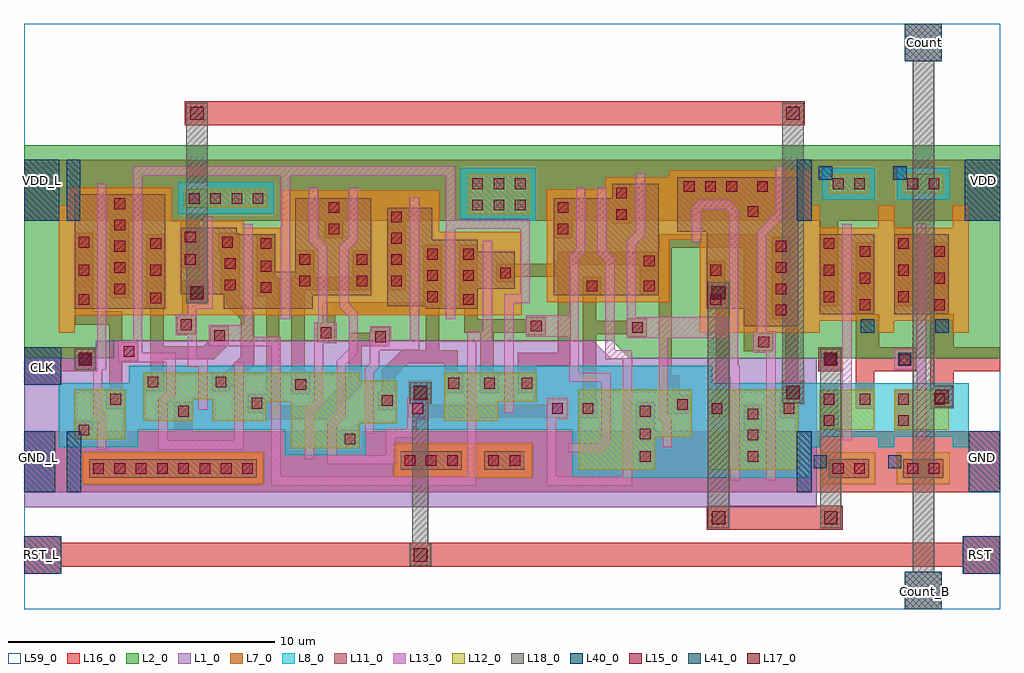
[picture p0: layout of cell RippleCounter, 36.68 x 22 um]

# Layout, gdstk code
import gdstk
lib = gdstk.Library(unit=1e-6, precision=1e-09)
def R(c, l, rs):  # rectangles x0, y0, x1, y1
    for r in rs: c.add(gdstk.rectangle(r[:2], r[2:], *l))
def A(c, l, x, y, w, h, nx, ny, dx, dy):  # array of equal rectangles
    R(c, l, [(x+i*dx, y+j*dy, x+i*dx+w, y+j*dy+h) for i in range(nx) for j in range(ny)])
def P(c, l, *ps):  # polygons
    for p in ps: c.add(gdstk.Polygon(p, *l))
L1_0 = (1, 0)
L2_0 = (2, 0)
L7_0 = (7, 0)
L8_0 = (8, 0)
L11_0 = (11, 0)
L12_0 = (12, 0)
L13_0 = (13, 0)
L15_0 = (15, 0)
L16_0 = (16, 0)
L17_0 = (17, 0)
L18_0 = (18, 0)
L40_0 = (40, 0)
L41_0 = (41, 0)
L59_0 = (59, 0)

m2_m1_cdns_756911784100 = lib.new_cell('M2_M1_CDNS_756911784100')
R(m2_m1_cdns_756911784100, L16_0, [(-0.45,-0.45,0.45,0.45)])
R(m2_m1_cdns_756911784100, L17_0, [(-0.25,-0.25,0.25,0.25)])
R(m2_m1_cdns_756911784100, L18_0, [(-0.4,-0.4,0.4,0.4)])

dfcn1 = lib.new_cell('DFCN1')
P(dfcn1, L1_0, [(28.2,5.05),(20.45,5.05),(19.8,5.7),(1.1,5.7),(1.1,5.05),(-1.6,5.05),(-1.6,-0.55),(28.2,-0.55)])
P(dfcn1, L2_0, [(28.9,13.05),(-0.9,13.05),(-0.9,5.05),(1.8,5.05),(1.8,5.7),(20.5,5.7),(21.15,5.05),(28.9,5.05)])
R(dfcn1, L7_0, [(0.6,0.3,7.4,1.5), (12.3,0.55,17.5,1.85)])
P(dfcn1, L7_0, [(-0.3,6),(-0.3,10.8),(0,10.8),(0,11.45),(3.95,11.45),(3.95,10.2),(6.65,10.2),(6.65,9.95),(8.1,9.95),(8.1,11.35),(14,11.35),(14,9.8),(17.1,9.8),(17.1,6.65),(0.3,6.65),(0.3,6)],
  [(23.8,6),(23.8,9.5),(22.65,9.5),(22.65,7.15),(18.05,7.15),(18.05,11.4),(20.25,11.4),(20.25,11.85),(22.65,11.85),(22.65,12.1),(28,12.1),(28,10.8),(28.3,10.8),(28.3,6)])
R(dfcn1, L8_0, [(14.8,10.2,17.65,12.2), (4.2,10.45,7.8,11.65)])
P(dfcn1, L8_0, [(19,0.55),(19,2.35),(11.25,2.35),(11.25,1.4),(8.2,1.4),(8.2,2.35),(2.7,2.35),(2.7,1.7),(-0.3,1.7),(-0.3,4.1),(2.35,4.1),(2.35,4.75),(24.275,4.75),(24.275,4.1),(28.3,4.1),(28.3,1.7),(28,1.7),(28,0.55)])
R(dfcn1, L11_0, [(0.85,0.55,7.15,1.25), (12.55,0.85,14.85,1.55), (15.7,0.85,17.2,1.55), (0.3,6.9,3.7,11.2)])
P(dfcn1, L11_0, [(13.5,6.9),(13.5,7),(12.05,7),(12.05,10.7),(13.75,10.7),(13.75,9.5),(15.45,9.5),(15.45,9.05),(16.85,9.05),(16.85,7.65),(15.45,7.65),(15.45,6.9)],
  [(25.45,6.25),(25.45,6.9),(24.05,6.9),(24.05,9.8),(22.95,9.8),(22.95,11.85),(27.5,11.85),(27.5,6.25)],
  [(5.9,6.9),(5.9,7.45),(4.3,7.45),(4.3,9.95),(6.4,9.95),(6.4,9.7),(7.85,9.7),(7.85,8.3),(8.6,8.3),(8.6,11.05),(11.45,11.05),(11.45,7.4),(9.25,7.4),(9.25,6.9)],
  [(18.3,7.4),(18.3,11.05),(20.5,11.05),(20.5,11.6),(22.25,11.6),(22.25,7.4)])
R(dfcn1, L12_0, [(24.1,0.85,27.5,3.85), (0.3,2,2.2,3.85), (15.1,10.45,17.4,11.95), (4.45,10.7,7.55,11.4)])
P(dfcn1, L12_0, [(19.25,0.85),(19.25,3.85),(23.5,3.85),(23.5,2.1),(22.1,2.1),(22.1,0.85)],
  [(8.45,1.65),(8.45,3.4),(7.5,3.4),(7.5,2.7),(5.5,2.7),(5.5,3.5),(4.75,3.5),(4.75,2.7),(2.9,2.7),(2.9,4.5),(11,4.5),(11,4.2),(12.4,4.2),(12.4,2.6),(11,2.6),(11,1.65)],
  [(14.2,2.7),(14.2,4.5),(17.65,4.5),(17.65,3.4),(16.2,3.4),(16.2,2.7)])
P(dfcn1, L13_0, [(4.55,4.7),(4.55,5.9),(4.1,5.9),(4.1,6.7),(4.55,6.7),(4.55,7.25),(5.15,7.25),(5.15,10.35),(5.5,10.35),(5.5,6.9),(4.9,6.9),(4.9,5.05),(5.3,5.05),(5.3,3.1),(4.95,3.1),(4.95,4.7)],
  [(1.15,1.6),(1.15,2.75),(1,2.9),(1,4.6),(0.3,4.6),(0.3,5.4),(1.15,5.4),(1.15,11.6),(1.5,11.6),(1.5,4.6),(1.35,4.6),(1.35,3.05),(1.5,2.9),(1.5,1.6)],
  [(9.8,1.05),(9.8,2.65),(10.15,3),(10.15,4.95),(10.6,5.4),(10.6,6.6),(10.25,6.95),(10.25,9.25),(10.6,9.6),(10.6,11.45),(10.95,11.45),(10.95,9.45),(10.6,9.1),(10.6,7.1),(10.95,6.75),(10.95,5.25),(10.5,4.8),(10.5,2.85),(10.15,2.5),(10.15,1.4),(12,1.4),(12,2.4),(12.8,2.4),(12.8,3.55),(13.6,3.55),(13.6,2.75),(13.15,2.75),(13.15,2.05),(12.35,2.05),(12.35,1.05)],
  [(18.05,0.25),(18.05,3.55),(18.85,3.55),(18.85,2.75),(18.4,2.75),(18.4,0.6),(20.9,0.6),(20.9,5),(20.25,5),(20.25,8.65),(19.95,8.95),(19.95,11.45),(20.3,11.45),(20.3,9.1),(20.6,8.8),(20.6,5.35),(21.25,5.35),(21.25,0.25)],
  [(8.95,1.25),(8.95,3.1),(9.3,3.45),(9.3,6.4),(9.45,6.4),(9.45,9.1),(9.1,9.45),(9.1,11.45),(9.45,11.45),(9.45,9.6),(9.8,9.25),(9.8,6.4),(10.15,6.4),(10.15,5.6),(9.65,5.6),(9.65,3.3),(9.3,2.95),(9.3,1.25)],
  [(11.2,2.2),(11.2,4.65),(11.4,4.85),(11.4,6.25),(12.2,6.25),(12.2,5.7),(12.9,5.7),(12.9,11.1),(13.25,11.1),(13.25,5.35),(11.75,5.35),(11.75,4.7),(11.55,4.5),(11.55,2.2)],
  [(18.85,1.5),(18.85,1.85),(19.95,1.85),(20.1,2),(20.1,4.15),(18.9,4.15),(18.9,5.85),(17.25,5.85),(17.25,6.65),(18.9,6.65),(18.9,8.95),(19.15,9.2),(19.15,11.45),(19.5,11.45),(19.5,9.05),(19.25,8.8),(19.25,4.5),(20.45,4.5),(20.45,1.85),(20.1,1.5)],
  [(21.05,5.8),(21.05,9.45),(21.4,9.8),(21.4,12),(21.75,12),(21.75,9.65),(21.4,9.3),(21.4,6.6),(24.9,6.6),(24.9,10.5),(24.75,10.65),(23.95,10.65),(23.85,10.55),(23.85,9.4),(23.5,9.4),(23.5,10.7),(23.8,11),(24.9,11),(25.25,10.65),(25.25,4.75),(25.3,4.75),(25.3,0.45),(24.95,0.45),(24.95,4.35),(24.9,4.35),(24.9,5.8),(22.6,5.8),(22.6,2.9),(22.75,2.75),(22.75,1.7),(22.4,1.7),(22.4,2.6),(22.25,2.75),(22.25,5.8)],
  [(25.8,5.25),(25.8,6.05),(25.95,6.05),(25.95,9.8),(26.65,10.5),(26.65,12.25),(27,12.25),(27,10.35),(26.3,9.65),(26.3,6.05),(26.65,6.05),(26.65,0.45),(26.3,0.45),(26.3,5.25)],
  [(1.95,4.9),(1.95,5.7),(2.5,5.7),(2.5,12.25),(14.6,12.25),(14.6,10.25),(17.4,10.25),(17.4,7.1),(16.8,7.1),(16.8,3),(16.45,3),(16.45,7.45),(17.05,7.45),(17.05,9.9),(14.6,9.9),(14.6,6.5),(14.25,6.5),(14.25,11.9),(8.4,11.9),(8.4,6.5),(8.05,6.5),(8.05,11.9),(2.85,11.9),(2.85,5.25),(4.1,5.25),(4.1,3.65),(3.8,3.35),(3.8,1.95),(6.3,1.95),(6.3,4.9),(6.65,4.9),(6.65,1.6),(3.45,1.6),(3.45,3.5),(3.75,3.8),(3.75,4.9)],
  [(5.35,5.5),(5.35,6.3),(6.65,6.3),(6.65,10.1),(7,10.1),(7,5.85),(8.05,5.85),(8.05,0.6),(15.05,0.6),(15.05,6.05),(15.65,6.05),(15.65,9.45),(16,9.45),(16,5.7),(15.4,5.7),(15.4,0.25),(7.7,0.25),(7.7,5.5)])
A(dfcn1, L15_0, 1, 0.7, 0.4, 0.4, 8, 1, 0.8, 0)
A(dfcn1, L15_0, 12.7, 1, 0.4, 0.4, 3, 1, 0.8, 0)
A(dfcn1, L15_0, 21.55, 1.15, 0.4, 0.4, 1, 3, 0, 0.85)
A(dfcn1, L15_0, 25.6, 1.15, 0.4, 0.4, 1, 3, 0, 0.8)
A(dfcn1, L15_0, 26.65, 6.65, 0.4, 0.4, 1, 4, 0, 0.8)
A(dfcn1, L15_0, 13.55, 7.15, 0.4, 0.4, 1, 3, 0, 0.8)
A(dfcn1, L15_0, 1.8, 7.45, 0.4, 0.4, 1, 5, 0, 0.8)
A(dfcn1, L15_0, 12.2, 7.75, 0.4, 0.4, 1, 4, 0, 0.8)
A(dfcn1, L15_0, 15.25, 10.6, 0.4, 0.4, 3, 2, 0.8, 0.8)
A(dfcn1, L15_0, 4.6, 10.85, 0.4, 0.4, 4, 1, 0.8, 0)
A(dfcn1, L15_0, 23.2, 11.3, 0.4, 0.4, 3, 1, 0.8, 0)
R(dfcn1, L15_0, [(15.85,1,16.25,1.4), (16.65,1,17.05,1.4), (10.45,1.8,10.85,2.2), (0.45,2.15,0.85,2.55), (4.2,2.85,4.6,3.25), (13,2.95,13.4,3.35), (18.25,2.95,18.65,3.35), (19.4,2.95,19.8,3.35), (24.25,2.95,24.65,3.35), (26.95,2.95,27.35,3.35), (22.95,3.1,23.35,3.5), (6.95,3.15,7.35,3.55), (11.85,3.25,12.25,3.65), (1.65,3.3,2.05,3.7), (8.6,3.85,9,4.25), (14.35,3.9,14.75,4.3), (15.7,3.9,16.1,4.3), (17.1,3.9,17.5,4.3), (3.05,3.95,3.45,4.35), (5.6,3.95,6,4.35), (0.5,4.8,0.9,5.2), (2.15,5.1,2.55,5.5), (26,5.45,26.4,5.85), (11.6,5.65,12,6.05), (5.55,5.7,5.95,6.1), (9.55,5.8,9.95,6.2), (21.25,6,21.65,6.4), (17.45,6.05,17.85,6.45), (4.3,6.1,4.7,6.5), (0.45,7.05,0.85,7.45), (14.9,7.05,15.3,7.45), (24.2,7.05,24.6,7.45), (3.15,7.1,3.55,7.5), (7.3,7.5,7.7,7.9), (19.55,7.55,19.95,7.95), (21.7,7.55,22.1,7.95), (5.95,7.6,6.35,8), (8.75,7.75,9.15,8.15), (10.9,7.75,11.3,8.15), (14.9,7.95,15.3,8.35), (16.3,8.05,16.7,8.45), (0.45,8.15,0.85,8.55), (3.15,8.15,3.55,8.55), (24.2,8.15,24.6,8.55), (7.3,8.3,7.7,8.7), (5.95,8.4,6.35,8.8), (21.7,8.5,22.1,8.9), (4.45,8.55,4.85,8.95), (8.75,8.55,9.15,8.95), (10.9,8.55,11.3,8.95), (14.9,8.75,15.3,9.15), (3.15,9.15,3.55,9.55), (7.3,9.15,7.7,9.55), (0.45,9.2,0.85,9.6), (5.85,9.2,6.25,9.6), (4.45,9.4,4.85,9.8), (9.85,9.7,10.25,10.1), (18.45,9.7,18.85,10.1), (20.65,10.25,21.05,10.65), (25.6,10.35,26,10.75), (9.85,10.5,10.25,10.9), (18.45,10.5,18.85,10.9), (20.65,11.05,21.05,11.45), (25.95,11.3,26.35,11.7)])
R(dfcn1, L16_0, [(0.25,4.55,1.15,5.45)])
P(dfcn1, L16_0, [(12.85,2.8),(12.85,4.2),(13.75,4.2),(13.75,3.3),(18.1,3.3),(18.1,3.5),(18.8,3.5),(18.8,2.8)],
  [(4.15,5.95),(4.15,6.65),(4.35,6.65),(4.35,7.95),(5.35,7.95),(5.35,7.05),(4.85,7.05),(4.85,5.95)],
  [(24.1,2.8),(24.1,3.5),(24.4,3.5),(24.4,6.9),(24.05,6.9),(24.05,8.7),(24.75,8.7),(24.75,7.95),(24.95,7.95),(24.95,7.05),(24.9,7.05),(24.9,2.8)],
  [(26.8,2.8),(26.8,3.5),(26.85,3.5),(26.85,4.2),(27,4.2),(27,6.5),(26.5,6.5),(26.5,9.6),(27.2,9.6),(27.2,7.2),(27.5,7.2),(27.5,4.2),(27.75,4.2),(27.75,3.3),(27.5,3.3),(27.5,2.8)],
  [(1.65,7.3),(1.65,10.2),(0,10.2),(0,12.5),(28,12.5),(28,10.2),(21.2,10.2),(21.2,10.1),(20.5,10.1),(20.5,10.2),(19,10.2),(19,9.55),(18.3,9.55),(18.3,10.2),(12.75,10.2),(12.75,7.6),(12.05,7.6),(12.05,10.2),(10.4,10.2),(10.4,9.55),(9.7,9.55),(9.7,10.2),(5,10.2),(5,8.4),(4.3,8.4),(4.3,10.2),(2.35,10.2),(2.35,7.3)],
  [(0,0),(0,2.3),(0.3,2.3),(0.3,2.7),(1,2.7),(1,2.3),(4.05,2.3),(4.05,3.4),(4.75,3.4),(4.75,2.3),(10.3,2.3),(10.3,2.35),(11,2.35),(11,2.3),(21.4,2.3),(21.4,3.4),(22.1,3.4),(22.1,2.3),(25.45,2.3),(25.45,3.3),(26.15,3.3),(26.15,2.3),(28,2.3),(28,0)],
  [(19.25,2.8),(19.25,3.5),(19.4,3.5),(19.4,8.1),(20.1,8.1),(20.1,7.4),(19.9,7.4),(19.9,6.45),(21.1,6.45),(21.1,6.55),(21.8,6.55),(21.8,5.85),(21.1,5.85),(21.1,5.95),(19.9,5.95),(19.9,3.5),(19.95,3.5),(19.95,2.8)],
  [(8.45,3.7),(8.45,8.1),(8.6,8.1),(8.6,9.1),(9.3,9.1),(9.3,8.1),(10.75,8.1),(10.75,9.1),(11.45,9.1),(11.45,7.6),(8.95,7.6),(8.95,4.4),(9.15,4.4),(9.15,3.7)],
  [(11.7,3.1),(11.7,3.8),(11.85,3.8),(11.85,4.6),(12.6,5.35),(13.5,5.35),(13.5,6.65),(10.1,6.65),(10.1,5.65),(9.4,5.65),(9.4,6.35),(9.6,6.35),(9.6,7.15),(13.4,7.15),(13.4,9.3),(14.1,9.3),(14.1,7),(14,7),(14,5.35),(14.7,5.35),(14.7,4.45),(14.9,4.45),(14.9,3.75),(14.2,3.75),(14.2,4.85),(12.85,4.85),(12.35,4.35),(12.35,3.8),(12.4,3.8),(12.4,3.1)],
  [(14.95,6),(14.95,6.9),(14.75,6.9),(14.75,9.3),(15.45,9.3),(15.45,6.5),(17.3,6.5),(17.3,6.6),(18,6.6),(18,5.9),(17.3,5.9),(17.3,6),(16.05,6),(16.05,4.45),(16.25,4.45),(16.25,3.75),(15.55,3.75),(15.55,6)],
  [(0.3,6.3),(0.3,9.75),(1,9.75),(1,6.8),(2.1,6.8),(2.1,5.65),(2.7,5.65),(2.7,4.95),(2.1,4.95),(2.1,3.85),(2.2,3.85),(2.2,3.15),(1.5,3.15),(1.5,3.85),(1.6,3.85),(1.6,6.3)],
  [(2.9,3.8),(2.9,4.5),(3.15,4.5),(3.15,6.95),(3,6.95),(3,9.7),(3.7,9.7),(3.7,6.95),(3.65,6.95),(3.65,5.5),(5.15,5.5),(5.4,5.75),(5.4,6.25),(6.1,6.25),(6.1,5.55),(5.55,5),(3.65,5),(3.65,3.8)],
  [(5.45,3.8),(5.45,4.5),(5.95,4.5),(6.55,5.1),(6.55,6.5),(6,7.05),(6,7.45),(5.8,7.45),(5.8,9.05),(5.7,9.05),(5.7,9.75),(6.5,9.75),(6.5,7.3),(7.05,6.75),(7.05,4.8),(6.25,4),(6.15,4),(6.15,3.8)],
  [(7.5,2.75),(7.5,3),(6.8,3),(6.8,3.7),(7.5,3.7),(7.5,7.35),(7.15,7.35),(7.15,9.7),(7.85,9.7),(7.85,8.05),(8,8.05),(8,3.25),(9.55,3.25),(10.6,4.3),(10.6,6),(11.45,6),(11.45,6.2),(12.15,6.2),(12.15,5.55),(12.1,5.5),(11.1,5.5),(11.1,4.05),(9.8,2.75)],
  [(22.55,2.95),(22.55,3.9),(22.25,3.9),(22.25,7.4),(21.55,7.4),(21.55,8.55),(18.95,8.55),(18.95,4.75),(17.65,4.75),(17.65,3.75),(16.95,3.75),(16.95,5.25),(18.45,5.25),(18.45,8.1),(16.85,8.1),(16.85,7.9),(16.15,7.9),(16.15,8.6),(18.45,8.6),(18.45,9.05),(22.25,9.05),(22.25,9.7),(25.95,9.7),(25.95,6),(26.55,6),(26.55,5.3),(25.45,5.3),(25.45,9.2),(22.75,9.2),(22.75,4.4),(23.05,4.4),(23.05,3.65),(23.5,3.65),(23.5,2.95)])
R(dfcn1, L40_0, [(0,0,0.55,2.3), (27.45,0,28,2.3), (0,10.2,0.51,12.5), (27.45,10.2,28,12.5)])
R(dfcn1, L41_0, [(13.05,3.5,13.55,4), (27.05,3.5,27.55,4), (0.45,4.75,0.95,5.25), (4.65,7.25,5.15,7.75), (24.25,7.25,24.75,7.75)])
dfcn1.add(gdstk.Reference(m2_m1_cdns_756911784100, (0.7,5)))
dfcn1.add(gdstk.Reference(m2_m1_cdns_756911784100, (4.9,7.5)))
dfcn1.add(gdstk.Reference(m2_m1_cdns_756911784100, (13.3,3.74)))
dfcn1.add(gdstk.Reference(m2_m1_cdns_756911784100, (27.3,3.75)))
dfcn1.add(gdstk.Reference(m2_m1_cdns_756911784100, (24.5,7.5)))
dfcn1.add(gdstk.Label('QN', (27.3,3.75), layer=41, texttype=0))
dfcn1.add(gdstk.Label('Q', (24.5,7.5), layer=41, texttype=0))
dfcn1.add(gdstk.Label('CDN', (13.3,3.75), layer=41, texttype=0))
dfcn1.add(gdstk.Label('CP', (0.7,5), layer=41, texttype=0))
dfcn1.add(gdstk.Label('D', (4.9,7.5), layer=41, texttype=0))
dfcn1.add(gdstk.Label('DFCN1', (0,0), layer=62, texttype=0))
dfcn1.add(gdstk.Label('VSS', (0.28,1.21), layer=40, texttype=0))
dfcn1.add(gdstk.Label('VDD', (0.22,11.42), layer=40, texttype=0))
dfcn1.add(gdstk.Label('VDD', (27.67,11.42), layer=40, texttype=0))
dfcn1.add(gdstk.Label('VSS', (27.73,1.21), layer=40, texttype=0))
dfcn1.add(gdstk.Label('& SerialNumber 000000', (0.7,0), layer=11, texttype=0))
dfcn1.add(gdstk.Label('& Distributor Vanguard', (0.7,0), layer=11, texttype=0))
dfcn1.add(gdstk.Label('& Metric 350.0', (0.7,0), layer=11, texttype=0))
dfcn1.add(gdstk.Label('& Version 400c', (0.7,0), layer=11, texttype=0))
dfcn1.add(gdstk.Label('& Product tcb773p', (0.7,0), layer=11, texttype=0))
dfcn1.add(gdstk.Label('& Vendor Taiwan Semiconductor Manufacturing Corp.', (0.7,0), layer=11, texttype=0))
dfcn1.add(gdstk.Label('& Vendor Taiwan Semiconductor Manufacturing Corp.', (28.15,0), layer=11, texttype=0))
dfcn1.add(gdstk.Label('& Product tcb773p', (28.15,0), layer=11, texttype=0))
dfcn1.add(gdstk.Label('& Version 400c', (28.15,0), layer=11, texttype=0))
dfcn1.add(gdstk.Label('& Metric 350.0', (28.15,0), layer=11, texttype=0))
dfcn1.add(gdstk.Label('& Distributor Vanguard', (28.15,0), layer=11, texttype=0))
dfcn1.add(gdstk.Label('& SerialNumber 000000', (28.15,0), layer=11, texttype=0))

inv0 = lib.new_cell('INV0')
R(inv0, L2_0, [(-1.6,5.05,3,13.05)])
R(inv0, L7_0, [(-0.3,0.3,1.7,1.5)])
P(inv0, L7_0, [(-1,6),(-1,10.8),(-0.4,10.8),(-0.4,9.95),(1.8,9.95),(1.8,10.8),(2.4,10.8),(2.4,6),(1.8,6),(1.8,6.45),(-0.4,6.45),(-0.4,6)])
R(inv0, L8_0, [(-0.3,11,1.7,12.2)])
P(inv0, L8_0, [(-1,1.7),(-1,4.1),(2.4,4.1),(2.4,1.7),(1.8,1.7),(1.8,2.1),(-0.4,2.1),(-0.4,1.7)])
R(inv0, L11_0, [(-0.05,0.55,1.45,1.25), (-0.4,6.7,1.65,9.7)])
R(inv0, L12_0, [(-0.4,2.35,1.65,3.85), (-0.05,11.25,1.45,11.95)])
P(inv0, L13_0, [(0.45,1.95),(0.45,4.6),(-0.4,4.6),(-0.4,5.4),(0.45,5.4),(0.45,10.1),(0.8,10.1),(0.8,1.95)])
A(inv0, L15_0, 1.1, 6.85, 0.4, 0.4, 1, 3, 0, 1)
A(inv0, L15_0, -0.25, 7.15, 0.4, 0.4, 1, 3, 0, 1)
R(inv0, L15_0, [(0.1,0.7,0.5,1.1), (0.9,0.7,1.3,1.1), (-0.25,2.5,0.15,2.9), (-0.25,3.3,0.15,3.7), (1.1,3.3,1.5,3.7), (-0.2,4.8,0.2,5.2), (0.1,11.4,0.5,11.8), (0.9,11.4,1.3,11.8)])
R(inv0, L16_0, [(-0.45,4.55,0.45,5.45)])
P(inv0, L16_0, [(0.95,3.15),(0.95,9.4),(1.65,9.4),(1.65,6.7),(1.85,6.7),(1.85,5.8),(1.65,5.8),(1.65,3.15)],
  [(-0.4,7),(-0.4,10.2),(-0.7,10.2),(-0.7,12.5),(2.1,12.5),(2.1,10.2),(0.3,10.2),(0.3,7)],
  [(-0.7,0),(-0.7,2.3),(-0.4,2.3),(-0.4,3.85),(0.3,3.85),(0.3,2.3),(2.1,2.3),(2.1,0)])
R(inv0, L40_0, [(-0.625,0.9,-0.125,1.4), (-0.25,4.75,0.25,5.25), (1.15,6,1.65,6.5), (-0.425,11.75,0.075,12.25)])
inv0.add(gdstk.Label('VSS', (-0.375,1.15), layer=40, texttype=0))
inv0.add(gdstk.Label('VDD', (-0.175,12), layer=40, texttype=0))
inv0.add(gdstk.Label('I', (0,5), layer=40, texttype=0))
inv0.add(gdstk.Label('ZN', (1.4,6.25), layer=40, texttype=0))

ripplecounter = lib.new_cell('RippleCounter')
R(ripplecounter, L2_0, [(0,9.44,1.58,17.44), (35.63,9.44,36.68,17.44)])
R(ripplecounter, L16_0, [(0,1.34,1.4,2.74), (35.28,1.34,36.68,2.74), (0,4.39,1.6,6.69), (35.2,4.39,36.68,6.69), (0,8.44,1.4,9.84), (34.75,8.44,34.95,8.98), (31.95,9.84,32.15,10.19), (34.75,9.84,34.95,10.19), (0,14.59,2.2,16.89), (34.64,14.59,36.68,16.89)])
R(ripplecounter, L18_0, [(33.1,0,34.5,1.4), (33.1,20.6,34.5,22)])
R(ripplecounter, L40_0, [(0,1.34,1.4,2.74), (35.28,1.34,36.68,2.74), (0,4.39,1.18,6.69), (35.5,4.39,36.68,6.69), (0,8.44,1.4,9.84), (0,14.59,1.33,16.89), (35.35,14.59,36.68,16.89)])
R(ripplecounter, L41_0, [(33.1,0,34.5,1.4), (33.1,20.6,34.5,22)])
R(ripplecounter, L59_0, [(0,0,36.68,22)])
ripplecounter.add(gdstk.FlexPath([(34.38,9.39),(36.68,9.39)], 0.9, ends="flush", simple_path=True, layer=16, datatype=0))  # L16_0
ripplecounter.add(gdstk.FlexPath([(0,9.39),(2.25,9.39)], 0.9, ends="flush", simple_path=True, layer=16, datatype=0))  # L16_0
ripplecounter.add(gdstk.FlexPath([(0,2.04),(36.68,2.04)], 0.9, ends="flush", simple_path=True, layer=16, datatype=0))  # L16_0
ripplecounter.add(gdstk.FlexPath([(33.1,9.39),(31.5,9.39)], 0.9, ends="flush", simple_path=True, layer=16, datatype=0))  # L16_0
ripplecounter.add(gdstk.FlexPath([(6.28,18.64),(29.14,18.64)], 0.9, ends="flush", simple_path=True, layer=16, datatype=0))  # L16_0
ripplecounter.add(gdstk.FlexPath([(26.1,3.44),(30.32,3.44)], 0.9, ends="flush", simple_path=True, layer=16, datatype=0))  # L16_0
ripplecounter.add(gdstk.FlexPath([(14.9,8.14),(14.9,1.79)], 0.6, ends=(0.3, 0), simple_path=True, layer=18, datatype=0))  # L18_0
ripplecounter.add(gdstk.FlexPath([(33.8,22),(33.8,0)], 0.8, ends="flush", simple_path=True, layer=18, datatype=0))  # L18_0
ripplecounter.add(gdstk.FlexPath([(30.32,3.17),(30.32,9.39)], 0.8, ends="flush", simple_path=True, layer=18, datatype=0))  # L18_0
ripplecounter.add(gdstk.FlexPath([(28.9,8.14),(28.9,18.64)], 0.8, ends="flush", simple_path=True, layer=18, datatype=0))  # L18_0
ripplecounter.add(gdstk.FlexPath([(26.1,11.64),(26.1,3.17)], 0.8, ends="flush", simple_path=True, layer=18, datatype=0))  # L18_0
ripplecounter.add(gdstk.FlexPath([(6.5,11.89),(6.5,18.64)], 0.8, ends="flush", simple_path=True, layer=18, datatype=0))  # L18_0
ripplecounter.add(gdstk.Reference(dfcn1, (1.6,4.39)))
ripplecounter.add(gdstk.Reference(inv0, (33.1,4.39)))
ripplecounter.add(gdstk.Reference(inv0, (30.3,4.39)))
ripplecounter.add(gdstk.Reference(m2_m1_cdns_756911784100, (34.5,7.99)))
ripplecounter.add(gdstk.Reference(m2_m1_cdns_756911784100, (30.32,9.39)))
ripplecounter.add(gdstk.Reference(m2_m1_cdns_756911784100, (28.9,18.64)))
ripplecounter.add(gdstk.Reference(m2_m1_cdns_756911784100, (6.5,18.64)))
ripplecounter.add(gdstk.Reference(m2_m1_cdns_756911784100, (30.32,3.44)))
ripplecounter.add(gdstk.Reference(m2_m1_cdns_756911784100, (14.9,2.04)))
ripplecounter.add(gdstk.Reference(m2_m1_cdns_756911784100, (26.1,3.44)))
ripplecounter.add(gdstk.Label('GND_L', (0.53,5.71), layer=40, texttype=0))
ripplecounter.add(gdstk.Label('GND', (36.03,5.71), layer=40, texttype=0))
ripplecounter.add(gdstk.Label('VDD', (36.06,16.1), layer=40, texttype=0))
ripplecounter.add(gdstk.Label('RST', (35.94,2.04), layer=40, texttype=0))
ripplecounter.add(gdstk.Label('VDD_L', (0.71,16.1), layer=40, texttype=0))
ripplecounter.add(gdstk.Label('RST_L', (0.66,2.04), layer=40, texttype=0))
ripplecounter.add(gdstk.Label('CLK', (0.68,9.1), layer=40, texttype=0))
ripplecounter.add(gdstk.Label('Count', (33.83,21.28), layer=41, texttype=0))
ripplecounter.add(gdstk.Label('Count_B', (33.83,0.68), layer=41, texttype=0))

lib.write_gds('RippleCounter.gds')
